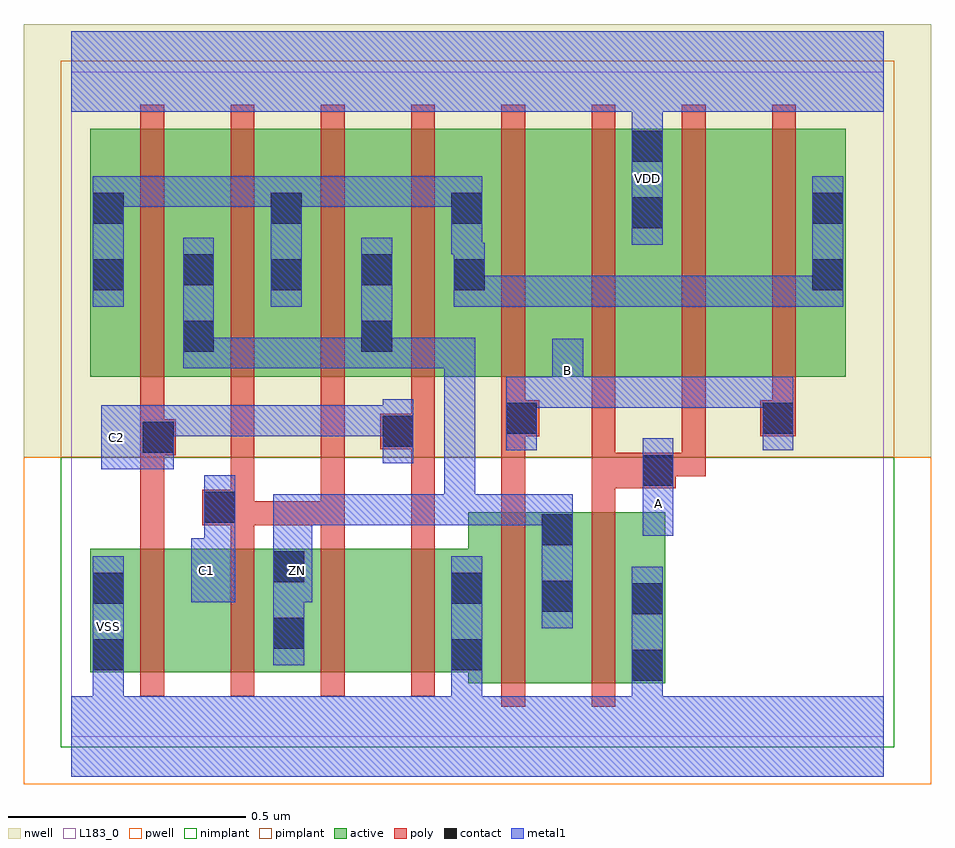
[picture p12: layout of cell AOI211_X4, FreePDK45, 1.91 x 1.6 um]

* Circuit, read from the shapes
.subckt AOI211_X4 A B C1 C2 VDD VSS ZN
M1 n1 C2 VSS VSUBS nfet w=0.26u l=0.05u
M2 ZN C1 n1 VSUBS nfet w=0.26u l=0.05u
M3 n2 C1 ZN VSUBS nfet w=0.26u l=0.05u
M4 VSS C2 n2 VSUBS nfet w=0.26u l=0.05u
M5 ZN B VSS VSUBS nfet w=0.36u l=0.05u
M6 VSS A ZN VSUBS nfet w=0.36u l=0.05u
M7 ZN C2 n3 n4 pfet w=0.5225u l=0.05u m=2
M8 n3 C1 ZN n4 pfet w=0.5225u l=0.05u m=2
M9 n5 B n3 n4 pfet w=0.5225u l=0.05u
M10 VDD A n5 n4 pfet w=0.5225u l=0.05u
M11 n6 A VDD n4 pfet w=0.5225u l=0.05u
M12 n3 B n6 n4 pfet w=0.5225u l=0.05u
.ends

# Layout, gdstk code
import gdstk
lib = gdstk.Library(unit=1e-6, precision=1e-10)
def R(c, l, rs):  # rectangles x0, y0, x1, y1
    for r in rs: c.add(gdstk.rectangle(r[:2], r[2:], *l))
def P(c, l, *ps):  # polygons
    for p in ps: c.add(gdstk.Polygon(p, *l))
active = (1, 0)
pwell = (2, 0)
nwell = (3, 0)
nimplant = (4, 0)
pimplant = (5, 0)
poly = (9, 0)
contact = (10, 0)
metal1 = (11, 0)
L183_0 = (183, 0)

aoi211_x4 = lib.new_cell('AOI211_X4')
P(aoi211_x4, active, [(0.04,0.135),(0.145,0.135),(0.195,0.135),(0.335,0.135),(0.385,0.135),(0.525,0.135),(0.575,0.135),(0.715,0.135),(0.765,0.135),(0.835,0.135),(0.835,0.1125),(0.905,0.1125),(0.955,0.1125),(1.095,0.1125),(1.145,0.1125),(1.25,0.1125),(1.25,0.4725),(1.145,0.4725),(1.095,0.4725),(0.955,0.4725),(0.905,0.4725),(0.835,0.4725),(0.835,0.395),(0.765,0.395),(0.715,0.395),(0.575,0.395),(0.525,0.395),(0.385,0.395),(0.335,0.395),(0.195,0.395),(0.145,0.395),(0.04,0.395)],
  [(0.04,0.7575),(0.145,0.7575),(0.195,0.7575),(0.335,0.7575),(0.385,0.7575),(0.525,0.7575),(0.575,0.7575),(0.715,0.7575),(0.765,0.7575),(0.905,0.7575),(0.955,0.7575),(1.095,0.7575),(1.145,0.7575),(1.285,0.7575),(1.335,0.7575),(1.475,0.7575),(1.525,0.7575),(1.63,0.7575),(1.63,1.28),(1.525,1.28),(1.475,1.28),(1.335,1.28),(1.285,1.28),(1.145,1.28),(1.095,1.28),(0.955,1.28),(0.905,1.28),(0.765,1.28),(0.715,1.28),(0.575,1.28),(0.525,1.28),(0.385,1.28),(0.335,1.28),(0.195,1.28),(0.145,1.28),(0.04,1.28)])
P(aoi211_x4, pwell, [(-0.1,-0.1),(1.81,-0.1),(1.81,0.5875),(1.61,0.5875),(0.1,0.5875),(-0.1,0.5875)])
P(aoi211_x4, nwell, [(-0.1,0.5875),(0.1,0.5875),(1.61,0.5875),(1.81,0.5875),(1.81,1.5),(-0.1,1.5)])
R(aoi211_x4, nimplant, [(-0.0225,-0.0225,1.7325,0.5875)])
R(aoi211_x4, pimplant, [(-0.0225,0.5875,1.7325,1.4225)])
P(aoi211_x4, poly, [(1.095,0.0625),(1.145,0.0625),(1.145,0.1125),(1.145,0.4725),(1.145,0.5225),(1.2725,0.5225),(1.2725,0.5475),(1.335,0.5475),(1.335,0.7575),(1.335,1.28),(1.335,1.33),(1.285,1.33),(1.285,1.28),(1.285,0.7575),(1.285,0.5975),(1.145,0.5975),(1.145,0.7575),(1.145,1.28),(1.145,1.33),(1.095,1.33),(1.095,1.28),(1.095,0.7575),(1.095,0.4725),(1.095,0.1125)],
  [(1.45,0.6325),(1.525,0.6325),(1.525,0.7575),(1.525,1.28),(1.525,1.33),(1.475,1.33),(1.475,1.28),(1.475,0.7575),(1.475,0.7075),(1.45,0.7075)],
  [(0.145,0.085),(0.195,0.085),(0.195,0.135),(0.195,0.395),(0.195,0.5925),(0.22,0.5925),(0.22,0.6675),(0.195,0.6675),(0.195,0.7575),(0.195,1.28),(0.195,1.33),(0.145,1.33),(0.145,1.28),(0.145,0.7575),(0.145,0.395),(0.145,0.135)],
  [(0.275,0.445),(0.335,0.445),(0.335,0.395),(0.335,0.135),(0.335,0.085),(0.385,0.085),(0.385,0.135),(0.385,0.395),(0.385,0.445),(0.525,0.445),(0.525,0.395),(0.525,0.135),(0.525,0.085),(0.575,0.085),(0.575,0.135),(0.575,0.395),(0.575,0.7575),(0.575,1.28),(0.575,1.33),(0.525,1.33),(0.525,1.28),(0.525,0.7575),(0.525,0.495),(0.385,0.495),(0.385,0.7575),(0.385,1.28),(0.385,1.33),(0.335,1.33),(0.335,1.28),(0.335,0.7575),(0.335,0.52),(0.275,0.52)],
  [(0.65,0.605),(0.715,0.605),(0.715,0.395),(0.715,0.135),(0.715,0.085),(0.765,0.085),(0.765,0.135),(0.765,0.395),(0.765,0.7575),(0.765,1.28),(0.765,1.33),(0.715,1.33),(0.715,1.28),(0.715,0.7575),(0.715,0.68),(0.65,0.68)],
  [(0.905,0.0625),(0.955,0.0625),(0.955,0.1125),(0.955,0.4725),(0.955,0.6325),(0.985,0.6325),(0.985,0.7075),(0.955,0.7075),(0.955,0.7575),(0.955,1.28),(0.955,1.33),(0.905,1.33),(0.905,1.28),(0.905,0.7575),(0.905,0.4725),(0.905,0.1125)])
R(aoi211_x4, contact, [(1.18,0.1175,1.245,0.1825), (0.045,0.14,0.11,0.205), (0.8,0.14,0.865,0.205), (0.425,0.185,0.49,0.25), (1.18,0.2575,1.245,0.3225), (0.99,0.2625,1.055,0.3275), (0.045,0.28,0.11,0.345), (0.8,0.28,0.865,0.345), (0.425,0.325,0.49,0.39), (0.99,0.4025,1.055,0.4675), (0.28,0.45,0.345,0.515), (1.2025,0.5275,1.2675,0.5925), (0.15,0.5975,0.215,0.6625), (0.655,0.61,0.72,0.675), (0.915,0.6375,0.98,0.7025), (1.455,0.6375,1.52,0.7025), (0.235,0.81,0.3,0.875), (0.61,0.81,0.675,0.875), (0.045,0.94,0.11,1.005), (0.42,0.94,0.485,1.005), (0.805,0.94,0.87,1.005), (1.56,0.94,1.625,1.005), (0.235,0.95,0.3,1.015), (0.61,0.95,0.675,1.015), (1.18,1.07,1.245,1.135), (0.045,1.08,0.11,1.145), (0.42,1.08,0.485,1.145), (0.8,1.08,0.865,1.145), (1.56,1.08,1.625,1.145), (1.18,1.21,1.245,1.275)])
R(aoi211_x4, metal1, [(1.2025,0.4225,1.2675,0.6275)])
P(aoi211_x4, metal1, [(0.235,0.775),(0.785,0.775),(0.785,0.51),(0.425,0.51),(0.425,0.15),(0.49,0.15),(0.49,0.2825),(0.5075,0.2825),(0.5075,0.445),(0.99,0.445),(0.99,0.2275),(1.055,0.2275),(1.055,0.51),(0.85,0.51),(0.85,0.84),(0.675,0.84),(0.675,1.05),(0.61,1.05),(0.61,0.84),(0.3,0.84),(0.3,1.05),(0.235,1.05)],
  [(0.915,0.6025),(0.98,0.6025),(0.98,0.6925),(1.455,0.6925),(1.455,0.6025),(1.52,0.6025),(1.52,0.7575),(1.0775,0.7575),(1.0775,0.8375),(1.0125,0.8375),(1.0125,0.7575),(0.915,0.7575)],
  [(0.045,0.905),(0.11,0.905),(0.11,1.115),(0.42,1.115),(0.42,0.905),(0.485,0.905),(0.485,1.115),(0.8,1.115),(0.8,1.015),(0.805,1.015),(0.805,0.905),(1.625,0.905),(1.625,1.18),(1.56,1.18),(1.56,0.97),(0.87,0.97),(0.87,1.04),(0.865,1.04),(0.865,1.18),(0.045,1.18)],
  [(0,-0.085),(1.71,-0.085),(1.71,0.085),(1.245,0.085),(1.245,0.3575),(1.18,0.3575),(1.18,0.085),(0.865,0.085),(0.865,0.38),(0.8,0.38),(0.8,0.085),(0.11,0.085),(0.11,0.38),(0.045,0.38),(0.045,0.085),(0,0.085)],
  [(0,1.315),(1.18,1.315),(1.18,1.035),(1.245,1.035),(1.245,1.315),(1.71,1.315),(1.71,1.485),(0,1.485)],
  [(0.2525,0.2825),(0.345,0.2825),(0.345,0.55),(0.28,0.55),(0.28,0.4175),(0.2525,0.4175)],
  [(0.0625,0.5625),(0.215,0.5625),(0.215,0.6325),(0.655,0.6325),(0.655,0.575),(0.72,0.575),(0.72,0.71),(0.655,0.71),(0.655,0.6975),(0.0625,0.6975)])
R(aoi211_x4, L183_0, [(0,0,1.71,1.4)])
aoi211_x4.add(gdstk.Label('A', (1.235,0.49), layer=11, texttype=0))
aoi211_x4.add(gdstk.Label('B', (1.045,0.77), layer=11, texttype=0))
aoi211_x4.add(gdstk.Label('C1', (0.285,0.35), layer=11, texttype=0))
aoi211_x4.add(gdstk.Label('C2', (0.095,0.63), layer=11, texttype=0))
aoi211_x4.add(gdstk.Label('VDD', (1.2125,1.175), layer=11, texttype=0))
aoi211_x4.add(gdstk.Label('VSS', (0.0775,0.2325), layer=11, texttype=0))
aoi211_x4.add(gdstk.Label('ZN', (0.475,0.35), layer=11, texttype=0))

lib.write_gds('AOI211_X4.gds')
